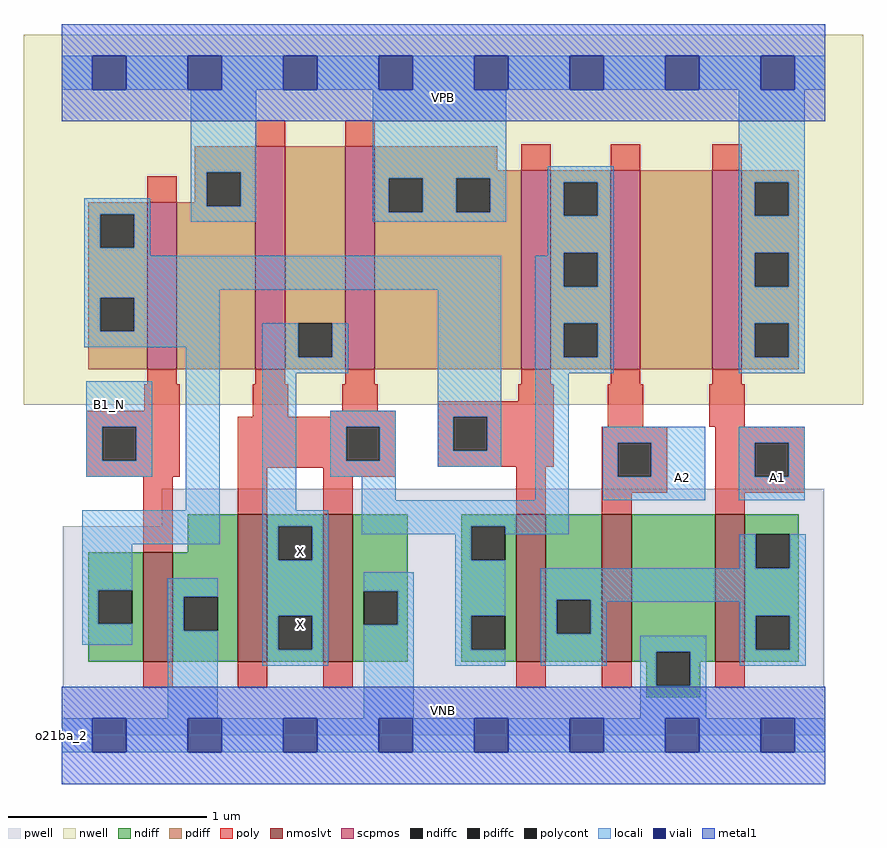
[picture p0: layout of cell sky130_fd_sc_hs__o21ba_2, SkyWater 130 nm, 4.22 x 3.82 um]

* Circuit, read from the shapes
.subckt sky130_fd_sc_hs__o21ba_2 A1 A2 B1_N VGND VNB VPB VPWR X
XM1 VGND B1_N n1 VNB sky130_fd_pr__nfet_01v8_lvt w=0.55 l=0.15
XM2 X n2 VGND VNB sky130_fd_pr__nfet_01v8_lvt w=0.74 l=0.15 m=2
XM3 n3 n1 n2 VNB sky130_fd_pr__nfet_01v8_lvt w=0.74 l=0.15
XM4 VGND A2 n3 VNB sky130_fd_pr__nfet_01v8_lvt w=0.74 l=0.15
XM5 n3 A1 VGND VNB sky130_fd_pr__nfet_01v8_lvt w=0.74 l=0.15
XM6 VPWR B1_N n1 VPB sky130_fd_pr__pfet_01v8 w=0.84 l=0.15
XM7 X n2 VPWR VPB sky130_fd_pr__pfet_01v8 w=1.12 l=0.15 m=2
XM8 n2 n1 VPWR VPB sky130_fd_pr__pfet_01v8 w=1 l=0.15
XM9 n4 A2 n2 VPB sky130_fd_pr__pfet_01v8 w=1 l=0.15
XM10 VPWR A1 n4 VPB sky130_fd_pr__pfet_01v8 w=1 l=0.15
.ends

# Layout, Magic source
magic
tech sky130A
magscale 1 2
<< nwell >>
rect -38 332 806 704
<< pwell >>
rect 101 210 767 248
rect 1 49 767 210
rect 0 0 768 49
<< scpmos >>
rect 86 368 116 536
rect 195 368 225 592
rect 285 368 315 592
rect 462 368 492 568
rect 552 368 582 568
rect 654 368 684 568
<< nmoslvt >>
rect 82 74 112 184
rect 177 74 207 222
rect 263 74 293 222
rect 457 74 487 222
rect 543 74 573 222
rect 657 74 687 222
<< ndiff >>
rect 127 184 177 222
rect 27 146 82 184
rect 27 112 37 146
rect 71 112 82 146
rect 27 74 82 112
rect 112 139 177 184
rect 112 105 123 139
rect 157 105 177 139
rect 112 74 177 105
rect 207 210 263 222
rect 207 176 218 210
rect 252 176 263 210
rect 207 120 263 176
rect 207 86 218 120
rect 252 86 263 120
rect 207 74 263 86
rect 293 145 348 222
rect 293 111 304 145
rect 338 111 348 145
rect 293 74 348 111
rect 402 210 457 222
rect 402 176 412 210
rect 446 176 457 210
rect 402 120 457 176
rect 402 86 412 120
rect 446 86 457 120
rect 402 74 457 86
rect 487 136 543 222
rect 487 102 498 136
rect 532 102 543 136
rect 487 74 543 102
rect 573 84 657 222
rect 573 74 598 84
rect 588 50 598 74
rect 632 74 657 84
rect 687 202 741 222
rect 687 168 698 202
rect 732 168 741 202
rect 687 120 741 168
rect 687 86 698 120
rect 732 86 741 120
rect 687 74 741 86
rect 632 50 642 74
rect 588 38 642 50
<< pdiff >>
rect 134 566 195 592
rect 134 536 146 566
rect 27 524 86 536
rect 27 490 39 524
rect 73 490 86 524
rect 27 440 86 490
rect 27 406 39 440
rect 73 406 86 440
rect 27 368 86 406
rect 116 532 146 536
rect 180 532 195 566
rect 116 368 195 532
rect 225 414 285 592
rect 225 380 238 414
rect 272 380 285 414
rect 225 368 285 380
rect 315 568 438 592
rect 315 560 462 568
rect 315 526 329 560
rect 363 526 397 560
rect 431 526 462 560
rect 315 368 462 526
rect 492 556 552 568
rect 492 522 505 556
rect 539 522 552 556
rect 492 485 552 522
rect 492 451 505 485
rect 539 451 552 485
rect 492 414 552 451
rect 492 380 505 414
rect 539 380 552 414
rect 492 368 552 380
rect 582 368 654 568
rect 684 556 741 568
rect 684 522 697 556
rect 731 522 741 556
rect 684 485 741 522
rect 684 451 697 485
rect 731 451 741 485
rect 684 414 741 451
rect 684 380 697 414
rect 731 380 741 414
rect 684 368 741 380
<< ndiffc >>
rect 37 112 71 146
rect 123 105 157 139
rect 218 176 252 210
rect 218 86 252 120
rect 304 111 338 145
rect 412 176 446 210
rect 412 86 446 120
rect 498 102 532 136
rect 598 50 632 84
rect 698 168 732 202
rect 698 86 732 120
<< pdiffc >>
rect 39 490 73 524
rect 39 406 73 440
rect 146 532 180 566
rect 238 380 272 414
rect 329 526 363 560
rect 397 526 431 560
rect 505 522 539 556
rect 505 451 539 485
rect 505 380 539 414
rect 697 522 731 556
rect 697 451 731 485
rect 697 380 731 414
<< poly >>
rect 195 592 225 618
rect 285 592 315 618
rect 86 536 116 562
rect 462 568 492 594
rect 552 568 582 594
rect 654 568 684 594
rect 86 353 116 368
rect 195 353 225 368
rect 285 353 315 368
rect 462 353 492 368
rect 552 353 582 368
rect 654 353 684 368
rect 83 326 119 353
rect 25 310 119 326
rect 192 320 228 353
rect 282 326 318 353
rect 459 336 495 353
rect 270 320 336 326
rect 25 276 41 310
rect 75 276 119 310
rect 25 260 119 276
rect 177 310 336 320
rect 177 276 286 310
rect 320 276 336 310
rect 177 269 336 276
rect 378 320 495 336
rect 378 286 394 320
rect 428 286 495 320
rect 549 310 585 353
rect 651 310 687 353
rect 378 270 495 286
rect 543 294 609 310
rect 82 184 112 260
rect 177 222 207 269
rect 263 260 336 269
rect 263 222 293 260
rect 457 222 487 270
rect 543 260 559 294
rect 593 260 609 294
rect 543 244 609 260
rect 657 294 747 310
rect 657 260 697 294
rect 731 260 747 294
rect 657 244 747 260
rect 543 222 573 244
rect 657 222 687 244
rect 82 48 112 74
rect 177 48 207 74
rect 263 48 293 74
rect 457 48 487 74
rect 543 48 573 74
rect 657 48 687 74
<< polycont >>
rect 41 276 75 310
rect 286 276 320 310
rect 394 286 428 320
rect 559 260 593 294
rect 697 260 731 294
<< locali >>
rect 0 649 31 683
rect 65 649 127 683
rect 161 649 223 683
rect 257 649 319 683
rect 353 649 415 683
rect 449 649 511 683
rect 545 649 607 683
rect 641 649 703 683
rect 737 649 768 683
rect 130 566 196 649
rect 23 524 89 540
rect 23 490 39 524
rect 73 490 89 524
rect 130 532 146 566
rect 180 532 196 566
rect 130 516 196 532
rect 313 560 447 649
rect 313 526 329 560
rect 363 526 397 560
rect 431 526 447 560
rect 313 516 447 526
rect 489 556 555 572
rect 489 522 505 556
rect 539 522 555 556
rect 23 482 89 490
rect 489 485 555 522
rect 489 482 505 485
rect 23 448 442 482
rect 23 440 159 448
rect 23 406 39 440
rect 73 406 159 440
rect 23 390 159 406
rect 25 310 91 356
rect 25 276 41 310
rect 75 276 91 310
rect 25 260 91 276
rect 125 226 159 390
rect 21 192 159 226
rect 202 380 238 414
rect 272 380 288 414
rect 202 364 288 380
rect 202 226 236 364
rect 270 310 336 326
rect 270 276 286 310
rect 320 276 336 310
rect 270 260 336 276
rect 378 320 442 448
rect 378 286 394 320
rect 428 286 442 320
rect 378 270 442 286
rect 476 451 505 482
rect 539 451 555 485
rect 476 414 555 451
rect 476 380 505 414
rect 539 380 555 414
rect 476 364 555 380
rect 681 556 747 649
rect 681 522 697 556
rect 731 522 747 556
rect 681 485 747 522
rect 681 451 697 485
rect 731 451 747 485
rect 681 414 747 451
rect 681 380 697 414
rect 731 380 747 414
rect 681 364 747 380
rect 302 236 336 260
rect 476 236 510 364
rect 544 294 647 310
rect 544 260 559 294
rect 593 260 647 294
rect 544 236 647 260
rect 681 294 747 310
rect 681 260 697 294
rect 731 260 747 294
rect 681 236 747 260
rect 202 210 268 226
rect 21 146 71 192
rect 202 176 218 210
rect 252 176 268 210
rect 302 210 510 236
rect 302 202 412 210
rect 21 112 37 146
rect 21 91 71 112
rect 107 139 157 158
rect 107 105 123 139
rect 107 17 157 105
rect 202 120 268 176
rect 396 176 412 202
rect 446 202 510 210
rect 202 86 218 120
rect 252 86 268 120
rect 202 70 268 86
rect 304 145 354 164
rect 338 111 354 145
rect 304 17 354 111
rect 396 120 446 176
rect 682 168 698 202
rect 732 168 748 202
rect 396 86 412 120
rect 396 70 446 86
rect 482 136 748 168
rect 482 102 498 136
rect 532 134 748 136
rect 532 102 548 134
rect 482 70 548 102
rect 682 120 748 134
rect 582 84 648 100
rect 582 50 598 84
rect 632 50 648 84
rect 682 86 698 120
rect 732 86 748 120
rect 682 70 748 86
rect 582 17 648 50
rect 0 -17 31 17
rect 65 -17 127 17
rect 161 -17 223 17
rect 257 -17 319 17
rect 353 -17 415 17
rect 449 -17 511 17
rect 545 -17 607 17
rect 641 -17 703 17
rect 737 -17 768 17
<< viali >>
rect 31 649 65 683
rect 127 649 161 683
rect 223 649 257 683
rect 319 649 353 683
rect 415 649 449 683
rect 511 649 545 683
rect 607 649 641 683
rect 703 649 737 683
rect 31 -17 65 17
rect 127 -17 161 17
rect 223 -17 257 17
rect 319 -17 353 17
rect 415 -17 449 17
rect 511 -17 545 17
rect 607 -17 641 17
rect 703 -17 737 17
<< metal1 >>
rect 0 683 768 715
rect 0 649 31 683
rect 65 649 127 683
rect 161 649 223 683
rect 257 649 319 683
rect 353 649 415 683
rect 449 649 511 683
rect 545 649 607 683
rect 641 649 703 683
rect 737 649 768 683
rect 0 617 768 649
rect 0 17 768 49
rect 0 -17 31 17
rect 65 -17 127 17
rect 161 -17 223 17
rect 257 -17 319 17
rect 353 -17 415 17
rect 449 -17 511 17
rect 545 -17 607 17
rect 641 -17 703 17
rect 737 -17 768 17
rect 0 -49 768 -17
<< labels >>
rlabel comment s 0 0 0 0 4 o21ba_2
flabel pwell s 0 0 768 49 0 FreeSans 200 0 0 0 VNB
port 5 nsew ground bidirectional
flabel nwell s 0 617 768 666 0 FreeSans 200 0 0 0 VPB
port 6 nsew power bidirectional
flabel metal1 s 0 617 768 666 0 FreeSans 340 0 0 0 VPWR
port 7 nsew power bidirectional
flabel metal1 s 0 0 768 49 0 FreeSans 340 0 0 0 VGND
port 4 nsew ground bidirectional
flabel locali s 703 242 737 276 0 FreeSans 340 0 0 0 A1
port 1 nsew signal input
flabel locali s 223 94 257 128 0 FreeSans 340 0 0 0 X
port 8 nsew signal output
flabel locali s 223 168 257 202 0 FreeSans 340 0 0 0 X
port 8 nsew signal output
flabel locali s 607 242 641 276 0 FreeSans 340 0 0 0 A2
port 2 nsew signal input
flabel locali s 31 316 65 350 0 FreeSans 340 0 0 0 B1_N
port 3 nsew signal input
<< properties >>
string LEFsite unit
string LEFclass CORE
string FIXED_BBOX 0 0 768 666
string GDS_FILE $PDKPATH/libs.ref/sky130_fd_sc_hs/gds/sky130_fd_sc_hs.gds
string LEFsymmetry X Y
string GDS_END 3705554
string GDS_START 3698732
<< end >>
